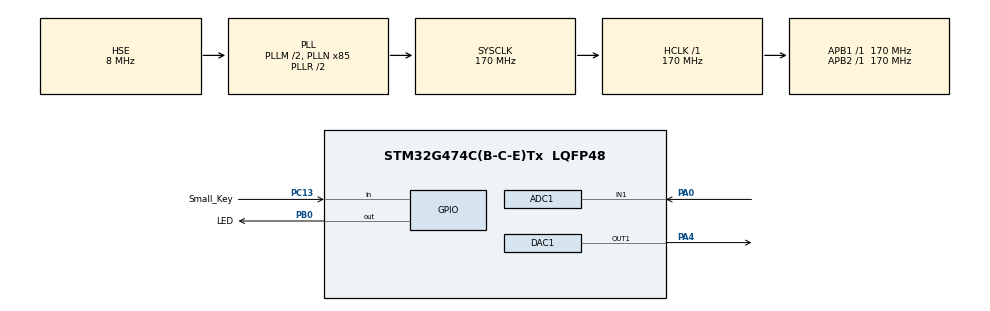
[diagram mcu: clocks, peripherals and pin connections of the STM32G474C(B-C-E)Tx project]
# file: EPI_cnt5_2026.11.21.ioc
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ADC1.Channel-0\#ChannelRegularConversion=ADC_CHANNEL_1
ADC1.DMAContinuousRequests=ENABLE
ADC1.ExternalTrigConv=ADC_EXTERNALTRIG_T1_TRGO
ADC1.NbrOfConversionFlag=1
ADC1.OffsetNumber-0\#ChannelRegularConversion=ADC_OFFSET_NONE
ADC1.Rank-0\#ChannelRegularConversion=1
ADC1.SamplingTime-0\#ChannelRegularConversion=ADC_SAMPLETIME_2CYCLES_5
ADC1.master=1
DAC1.DAC_DMADoubleDataMode-DAC_OUT1=ENABLE
DAC1.DAC_OutputBuffer-DAC_OUT1=DAC_OUTPUTBUFFER_DISABLE
DAC1.DAC_Trigger_OUT1-DAC_OUT1=DAC_TRIGGER_T8_TRGO
Dma.ADC1.0.Direction=DMA_PERIPH_TO_MEMORY
Dma.ADC1.0.EventEnable=DISABLE
Dma.ADC1.0.Instance=DMA1_Channel1
Dma.ADC1.0.MemDataAlignment=DMA_MDATAALIGN_HALFWORD
Dma.ADC1.0.MemInc=DMA_MINC_ENABLE
Dma.ADC1.0.Mode=DMA_CIRCULAR
Dma.ADC1.0.PeriphDataAlignment=DMA_PDATAALIGN_HALFWORD
Dma.ADC1.0.PeriphInc=DMA_PINC_DISABLE
Dma.ADC1.0.Polarity=HAL_DMAMUX_REQ_GEN_RISING
Dma.ADC1.0.Priority=DMA_PRIORITY_HIGH
Dma.ADC1.0.RequestNumber=1
Dma.ADC1.0.SignalID=NONE
Dma.ADC1.0.SyncEnable=DISABLE
Dma.ADC1.0.SyncPolarity=HAL_DMAMUX_SYNC_NO_EVENT
Dma.ADC1.0.SyncRequestNumber=1
Dma.ADC1.0.SyncSignalID=NONE
Dma.DAC1_CH1.1.Direction=DMA_MEMORY_TO_PERIPH
Dma.DAC1_CH1.1.EventEnable=DISABLE
Dma.DAC1_CH1.1.Instance=DMA1_Channel2
Dma.DAC1_CH1.1.MemDataAlignment=DMA_MDATAALIGN_WORD
Dma.DAC1_CH1.1.MemInc=DMA_MINC_ENABLE
Dma.DAC1_CH1.1.Mode=DMA_CIRCULAR
Dma.DAC1_CH1.1.PeriphDataAlignment=DMA_PDATAALIGN_WORD
Dma.DAC1_CH1.1.PeriphInc=DMA_PINC_DISABLE
Dma.DAC1_CH1.1.Polarity=HAL_DMAMUX_REQ_GEN_RISING
Dma.DAC1_CH1.1.Priority=DMA_PRIORITY_VERY_HIGH
Dma.DAC1_CH1.1.RequestNumber=1
Dma.DAC1_CH1.1.SignalID=NONE
Dma.DAC1_CH1.1.SyncEnable=DISABLE
Dma.DAC1_CH1.1.SyncPolarity=HAL_DMAMUX_SYNC_NO_EVENT
Dma.DAC1_CH1.1.SyncRequestNumber=1
Dma.DAC1_CH1.1.SyncSignalID=NONE
Dma.Request0=ADC1
Dma.Request1=DAC1_CH1
Mcu.Family=STM32G4
Mcu.Name=STM32G474C(B-C-E)Tx
Mcu.Package=LQFP48
NVIC.ADC1_2_IRQn=true\:0\:0\:false\:false\:true\:true\:true\:true
NVIC.DMA1_Channel1_IRQn=true\:0\:0\:false\:false\:true\:false\:true\:true
NVIC.DMA1_Channel2_IRQn=true\:0\:0\:false\:false\:true\:false\:true\:true
NVIC.PriorityGroup=NVIC_PRIORITYGROUP_4
NVIC.TIM6_DAC_IRQn=true\:0\:0\:false\:false\:true\:true\:true\:true
PA0.Mode=IN1-Single-Ended
PA0.Signal=ADC1_IN1
PA4.Signal=COMP_DAC11_group
PB0.GPIO_Label=LED
PB0.Signal=GPIO_Output
PC13.GPIO_Label=Small_Key
PC13.Signal=GPIO_Input
PF0-OSC_IN.Mode=HSE-External-Oscillator
PF0-OSC_IN.Signal=RCC_OSC_IN
PF1-OSC_OUT.Mode=HSE-External-Oscillator
PF1-OSC_OUT.Signal=RCC_OSC_OUT
ProjectManager.HeapSize=0x200
ProjectManager.StackSize=0x400
ProjectManager.TargetToolchain=CMake
RCC.ADC12Freq_Value=170000000
RCC.ADC345Freq_Value=170000000
RCC.AHBFreq_Value=170000000
RCC.APB1Freq_Value=170000000
RCC.APB1TimFreq_Value=170000000
RCC.APB2Freq_Value=170000000
RCC.APB2TimFreq_Value=170000000
RCC.CortexFreq_Value=170000000
RCC.EXTERNAL_CLOCK_VALUE=12288000
RCC.HCLKFreq_Value=170000000
RCC.HSE_VALUE=8000000
RCC.HSI48_VALUE=48000000
RCC.HSI_VALUE=16000000
RCC.LSE_VALUE=32768
RCC.PLLM=RCC_PLLM_DIV2
RCC.PLLN=85
RCC.PLLSourceVirtual=RCC_PLLSOURCE_HSE
RCC.SYSCLKFreq_VALUE=170000000
RCC.SYSCLKSource=RCC_SYSCLKSOURCE_PLLCLK
RCC.USBFreq_Value=170000000
RCC.VCOOutputFreq_Value=340000000
SH.COMP_DAC11_group.0=DAC1_OUT1,DAC_OUT1
TIM1.TIM_MasterOutputTrigger=TIM_TRGO_UPDATE
TIM8.TIM_MasterOutputTrigger=TIM_TRGO_UPDATE
VP_SYS_VS_DBSignals.Mode=DisableDeadBatterySignals
VP_TIM1_VS_ClockSourceITR.Mode=TriggerSource_ITR5
VP_TIM1_VS_ControllerModeClock.Mode=Clock Mode
VP_TIM8_VS_ClockSourceINT.Mode=Internal
board=custom

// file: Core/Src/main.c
/* USER CODE BEGIN Header */
/**
  ******************************************************************************
  * @file           : main.c
  * @brief          : Main program body
  ******************************************************************************
  * @attention
  *
  * Copyright (c) 2026 STMicroelectronics.
  * All rights reserved.
  *
  * This software is licensed under terms that can be found in the LICENSE file
  * in the root directory of this software component.
  * If no LICENSE file comes with this software, it is provided AS-IS.
  *
  ******************************************************************************
  */
/* USER CODE END Header */
#include "main.h"
#include "adc.h"
#include "dac.h"
#include "dma.h"
#include "tim.h"
#include "gpio.h"

/* USER CODE BEGIN Includes */
#include "dpll_app.h"
#include "bsp_signal.h"
#include "bsp_signal_settings.h"
/* USER CODE END Includes */

/* USER CODE BEGIN PD */
/* DPLL 波形参数：基频单位为 Hz，幅度和直流偏置采用 12 位 DAC 码。 */
#define NCO_INITIAL_FREQUENCY_HZ                 30000.0
#define DPLL_INITIAL_DAC_AMPLITUDE                1700U
#define DPLL_INITIAL_DAC_DC_OFFSET               2048U
#define DPLL_INITIAL_OUTPUT_WAVEFORM             NCO_OUTPUT_WAVEFORM_SINE
#define DPLL_INITIAL_OUTPUT_FREQUENCY_MULTIPLIER 1U /* 输出基频的整数倍。 */

/* 目标相位为 DAC 输出减 ADC 输入，单位为度。G474 补偿系数默认置零。 */
#define DPLL_INITIAL_LOCK_PHASE_DEG         0.0f

#define DPLL_PHASE_FIT_INTERCEPT_DEG        0.0f /* 单位：度。 */
#define DPLL_PHASE_FIT_SLOPE_DEG_PER_KHZ    0.0f /* 单位：度/kHz。 */

/* TIM8 更新率 = ADC 采样率 × 升采样倍数，TIM1 对 TIM8 更新事件分频。
 * 每半块处理截止时间 = ADC 块长 / 实际 ADC 采样率。 */
#define DPLL_DAC_OUTPUT_ENABLED             true

/* 比例、积分增益分别以 Hz/rad 和 Hz/(rad·s) 表示。 */
#define DPLL_INITIAL_PI_KP                  DPLL_PI_DEFAULT_KP_HZ_PER_RAD
#define DPLL_INITIAL_PI_KI                  DPLL_PI_DEFAULT_KI_HZ_PER_RAD_S
/* USER CODE END PD */

/* USER CODE BEGIN PV */
/* 置位相应请求标志即可从主循环或调试器申请更新，处理结果由 App 回写。 */
DPLL_App_RuntimeControl g_dpll_runtime_control = {
    .signal_config = {
        .adc_sample_rate_hz = DPLL_ADC_SAMPLE_RATE_HZ,
        .dac_upsampling_factor = DPLL_DAC_UPSAMPLING_FACTOR,
        .dac_output_enabled = DPLL_DAC_OUTPUT_ENABLED,
        .adc_block_samples = DPLL_ADC_BLOCK_SAMPLES,
        .reference_sample_offset = UINT32_MAX, /* 由 G474 SignalPort 推导参考偏移。 */
        .output_buffers = {NULL, NULL},        /* 使用 BSP 提供的两个静态输出缓冲区。 */
        .output_capacity_samples = 0U,         /* 采用 BSP 的每块容量。 */
    },
    .pi_kp_hz_per_rad = DPLL_INITIAL_PI_KP,
    .pi_ki_hz_per_rad_s = DPLL_INITIAL_PI_KI,
};
/* USER CODE END PV */

void SystemClock_Config(void);

int main(void)
{

  /* MCU Configuration--------------------------------------------------------*/

  /* Reset of all peripherals, Initializes the Flash interface and the Systick. */
  HAL_Init();

  /* USER CODE BEGIN Init */
  BSP_Signal_PreparePlatform();
  /* USER CODE END Init */

  /* Configure the system clock */
  SystemClock_Config();

  /* Initialize all configured peripherals */
  MX_GPIO_Init();
  MX_DMA_Init();
  MX_ADC1_Init();
  MX_TIM1_Init();
  MX_TIM8_Init();
  MX_DAC1_Init();
  /* USER CODE BEGIN 2 */
  /* 启动和捕获期间保持灭灯。 */
  HAL_GPIO_WritePin(LED_GPIO_Port, LED_Pin, GPIO_PIN_RESET);

  /* 将已初始化的板级信号端口传给 App，并按参考例程的顺序设置输出和闭环。 */
  const DPLL_App_Config dpll_app_config = {
      .port = BSP_Signal_Configure(&g_dpll_runtime_control.signal_config),
      .initial_frequency_hz = NCO_INITIAL_FREQUENCY_HZ,
      .dac_amplitude = DPLL_INITIAL_DAC_AMPLITUDE,
      .dac_dc_offset = DPLL_INITIAL_DAC_DC_OFFSET,
      .pi_kp_hz_per_rad = g_dpll_runtime_control.pi_kp_hz_per_rad,
      .pi_ki_hz_per_rad_s = g_dpll_runtime_control.pi_ki_hz_per_rad_s,
      .pi_max_correction_hz = DPLL_PI_DEFAULT_MAX_CORRECTION_HZ,
      .output_ready = NULL, /* 当前应用无需订阅内部输出块。 */
      .output_context = NULL,
  };

  if (!DPLL_App_Init(&dpll_app_config) ||
      !DPLL_App_SetPhaseCalibration(
          DPLL_PHASE_FIT_INTERCEPT_DEG, DPLL_PHASE_FIT_SLOPE_DEG_PER_KHZ) ||
      !DPLL_App_SetLockedPhaseDifferenceDegrees(DPLL_INITIAL_LOCK_PHASE_DEG) ||
      !DPLL_App_SetOutputWaveform(DPLL_INITIAL_OUTPUT_WAVEFORM) ||
      !DPLL_App_SetOutputFrequencyMultiplier(DPLL_INITIAL_OUTPUT_FREQUENCY_MULTIPLIER) ||
      !DPLL_App_Enable(true) ||
      !DPLL_App_Start())
  {
    Error_Handler();
  }

  /* 保存包含实际 ADC/DAC 更新率和处理块周期的配置结果。 */
  g_dpll_runtime_control.signal_config_success =
      DPLL_App_GetSignalInfo(&g_dpll_runtime_control.signal_info);

  /* USER CODE END 2 */

  /* Infinite loop */
  while (1)
  {

    /* USER CODE BEGIN 3 */
    DPLL_App_ProcessRuntimeControl(&g_dpll_runtime_control);
    HAL_GPIO_WritePin(LED_GPIO_Port, LED_Pin, DPLL_App_IsLocked() ? GPIO_PIN_RESET : GPIO_PIN_SET);
  }
  /* USER CODE END 3 */
}

void SystemClock_Config(void)
{
  RCC_OscInitTypeDef RCC_OscInitStruct = {0};
  RCC_ClkInitTypeDef RCC_ClkInitStruct = {0};

  /** Configure the main internal regulator output voltage
  */
  HAL_PWREx_ControlVoltageScaling(PWR_REGULATOR_VOLTAGE_SCALE1_BOOST);

  /** Initializes the RCC Oscillators according to the specified parameters
  * in the RCC_OscInitTypeDef structure.
  */
  RCC_OscInitStruct.OscillatorType = RCC_OSCILLATORTYPE_HSE;
  RCC_OscInitStruct.HSEState = RCC_HSE_ON;
  RCC_OscInitStruct.PLL.PLLState = RCC_PLL_ON;
  RCC_OscInitStruct.PLL.PLLSource = RCC_PLLSOURCE_HSE;
  RCC_OscInitStruct.PLL.PLLM = RCC_PLLM_DIV2;
  RCC_OscInitStruct.PLL.PLLN = 85;
  RCC_OscInitStruct.PLL.PLLP = RCC_PLLP_DIV2;
  RCC_OscInitStruct.PLL.PLLQ = RCC_PLLQ_DIV2;
  RCC_OscInitStruct.PLL.PLLR = RCC_PLLR_DIV2;
  if (HAL_RCC_OscConfig(&RCC_OscInitStruct) != HAL_OK)
  {
    Error_Handler();
  }

  /** Initializes the CPU, AHB and APB buses clocks
  */
  RCC_ClkInitStruct.ClockType = RCC_CLOCKTYPE_HCLK|RCC_CLOCKTYPE_SYSCLK
                              |RCC_CLOCKTYPE_PCLK1|RCC_CLOCKTYPE_PCLK2;
  RCC_ClkInitStruct.SYSCLKSource = RCC_SYSCLKSOURCE_PLLCLK;
  RCC_ClkInitStruct.AHBCLKDivider = RCC_SYSCLK_DIV1;
  RCC_ClkInitStruct.APB1CLKDivider = RCC_HCLK_DIV1;
  RCC_ClkInitStruct.APB2CLKDivider = RCC_HCLK_DIV1;

  if (HAL_RCC_ClockConfig(&RCC_ClkInitStruct, FLASH_LATENCY_4) != HAL_OK)
  {
    Error_Handler();
  }
}

void Error_Handler(void)
{
  __disable_irq();
  while (1)
  {
  }
}
